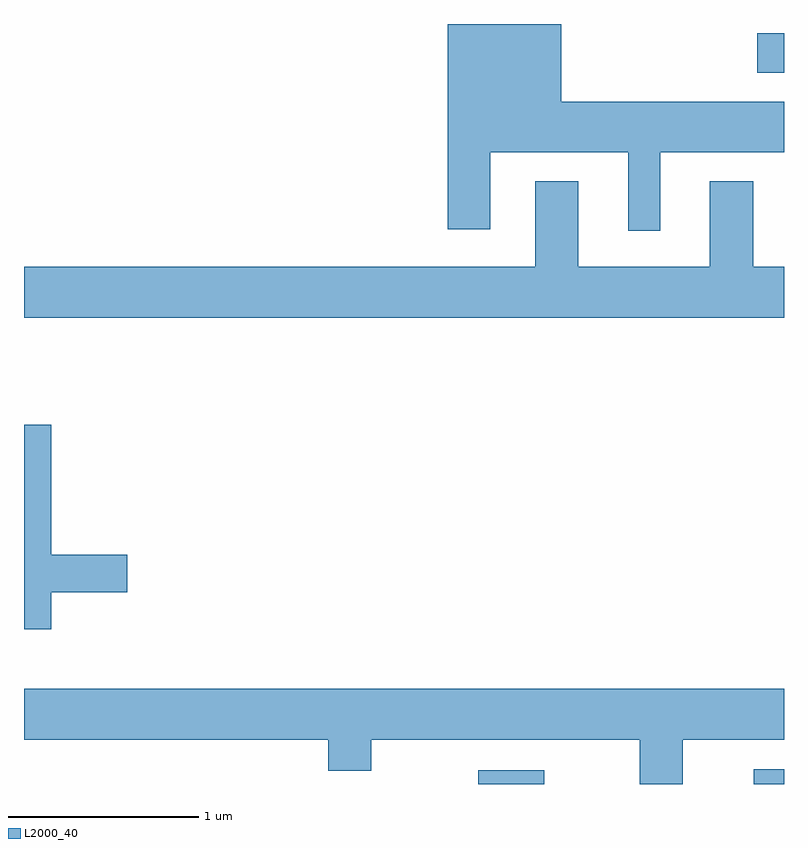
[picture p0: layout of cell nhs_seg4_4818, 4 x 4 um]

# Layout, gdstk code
import gdstk
lib = gdstk.Library(unit=1e-6, precision=1e-09)
def R(c, l, rs):  # rectangles x0, y0, x1, y1
    for r in rs: c.add(gdstk.rectangle(r[:2], r[2:], *l))
def P(c, l, *ps):  # polygons
    for p in ps: c.add(gdstk.Polygon(p, *l))
L2000_40 = (2000, 40)

nhs_seg4_4818 = lib.new_cell('nhs_seg4_4818')
R(nhs_seg4_4818, L2000_40, [(328.003,1369.982,328.349,1370.054), (329.453,1369.982,329.611,1370.059), (329.471,1373.726,329.611,1373.934)])
P(nhs_seg4_4818, L2000_40, [(328.959,1373.306),(329.611,1373.306),(329.611,1373.574),(328.439,1373.574),(328.439,1373.982),(327.841,1373.982),(327.841,1372.901),(328.064,1372.901),(328.064,1373.306),(328.791,1373.306),(328.791,1372.893),(328.959,1372.893)],
  [(329.611,1372.704),(329.449,1372.704),(329.449,1373.154),(329.221,1373.154),(329.221,1372.704),(328.529,1372.704),(328.529,1373.154),(328.301,1373.154),(328.301,1372.704),(325.611,1372.704),(325.611,1372.436),(329.611,1372.436)],
  [(325.754,1370.991),(326.154,1370.991),(326.154,1371.189),(325.754,1371.189),(325.754,1371.874),(325.611,1371.874),(325.611,1370.796),(325.754,1370.796)],
  [(329.079,1370.216),(329.611,1370.216),(329.611,1370.484),(325.611,1370.484),(325.611,1370.216),(327.211,1370.216),(327.211,1370.051),(327.439,1370.051),(327.439,1370.216),(328.851,1370.216),(328.851,1369.982),(329.079,1369.982)])

lib.write_gds('nhs_seg4_4818.gds')
